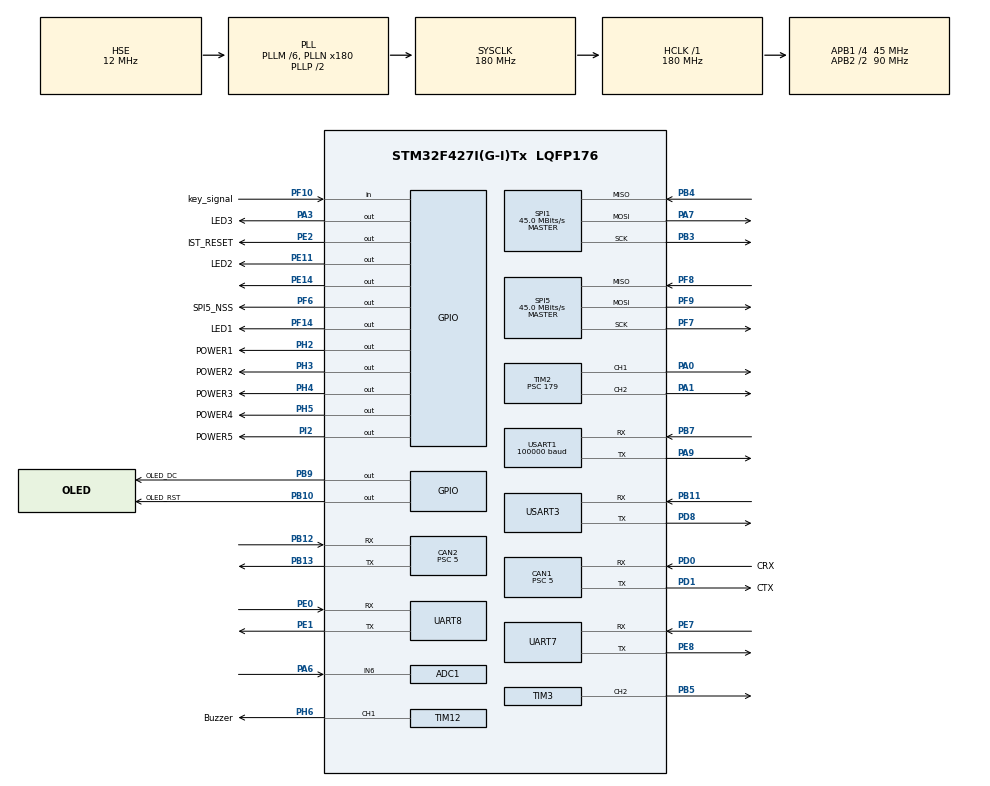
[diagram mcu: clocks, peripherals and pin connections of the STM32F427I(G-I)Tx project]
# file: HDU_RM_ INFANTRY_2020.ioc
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ADC1.Channel-0\#ChannelRegularConversion=ADC_CHANNEL_6
ADC1.ContinuousConvMode=ENABLE
ADC1.DMAContinuousRequests=ENABLE
ADC1.NbrOfConversionFlag=1
ADC1.Rank-0\#ChannelRegularConversion=1
ADC1.SamplingTime-0\#ChannelRegularConversion=ADC_SAMPLETIME_3CYCLES
ADC1.master=1
CAN1.ABOM=ENABLE
CAN1.BS1=CAN_BS1_5TQ
CAN1.BS2=CAN_BS2_3TQ
CAN1.CalculateTimeQuantum=111.11111111111111
CAN1.Prescaler=5
CAN2.ABOM=ENABLE
CAN2.BS1=CAN_BS1_5TQ
CAN2.BS2=CAN_BS2_3TQ
CAN2.CalculateTimeQuantum=111.11111111111111
CAN2.Prescaler=5
Dma.ADC1.0.Direction=DMA_PERIPH_TO_MEMORY
Dma.ADC1.0.FIFOMode=DMA_FIFOMODE_DISABLE
Dma.ADC1.0.Instance=DMA2_Stream0
Dma.ADC1.0.MemDataAlignment=DMA_MDATAALIGN_HALFWORD
Dma.ADC1.0.MemInc=DMA_MINC_ENABLE
Dma.ADC1.0.Mode=DMA_CIRCULAR
Dma.ADC1.0.PeriphDataAlignment=DMA_PDATAALIGN_HALFWORD
Dma.ADC1.0.PeriphInc=DMA_PINC_DISABLE
Dma.ADC1.0.Priority=DMA_PRIORITY_LOW
Dma.Request0=ADC1
Dma.Request1=UART8_RX
Dma.Request2=USART1_RX
Dma.Request3=UART7_RX
Dma.Request4=USART3_RX
Dma.UART7_RX.3.Direction=DMA_PERIPH_TO_MEMORY
Dma.UART7_RX.3.FIFOMode=DMA_FIFOMODE_DISABLE
Dma.UART7_RX.3.Instance=DMA1_Stream3
Dma.UART7_RX.3.MemDataAlignment=DMA_MDATAALIGN_BYTE
Dma.UART7_RX.3.MemInc=DMA_MINC_ENABLE
Dma.UART7_RX.3.Mode=DMA_CIRCULAR
Dma.UART7_RX.3.PeriphDataAlignment=DMA_PDATAALIGN_BYTE
Dma.UART7_RX.3.PeriphInc=DMA_PINC_DISABLE
Dma.UART7_RX.3.Priority=DMA_PRIORITY_LOW
Dma.UART8_RX.1.Direction=DMA_PERIPH_TO_MEMORY
Dma.UART8_RX.1.FIFOMode=DMA_FIFOMODE_DISABLE
Dma.UART8_RX.1.Instance=DMA1_Stream6
Dma.UART8_RX.1.MemDataAlignment=DMA_MDATAALIGN_BYTE
Dma.UART8_RX.1.MemInc=DMA_MINC_ENABLE
Dma.UART8_RX.1.Mode=DMA_CIRCULAR
Dma.UART8_RX.1.PeriphDataAlignment=DMA_PDATAALIGN_BYTE
Dma.UART8_RX.1.PeriphInc=DMA_PINC_DISABLE
Dma.UART8_RX.1.Priority=DMA_PRIORITY_HIGH
Dma.USART1_RX.2.Direction=DMA_PERIPH_TO_MEMORY
Dma.USART1_RX.2.FIFOMode=DMA_FIFOMODE_DISABLE
Dma.USART1_RX.2.Instance=DMA2_Stream2
Dma.USART1_RX.2.MemDataAlignment=DMA_MDATAALIGN_BYTE
Dma.USART1_RX.2.MemInc=DMA_MINC_ENABLE
Dma.USART1_RX.2.Mode=DMA_CIRCULAR
Dma.USART1_RX.2.PeriphDataAlignment=DMA_PDATAALIGN_BYTE
Dma.USART1_RX.2.PeriphInc=DMA_PINC_DISABLE
Dma.USART1_RX.2.Priority=DMA_PRIORITY_VERY_HIGH
Dma.USART3_RX.4.Direction=DMA_PERIPH_TO_MEMORY
Dma.USART3_RX.4.FIFOMode=DMA_FIFOMODE_DISABLE
Dma.USART3_RX.4.Instance=DMA1_Stream1
Dma.USART3_RX.4.MemDataAlignment=DMA_MDATAALIGN_BYTE
Dma.USART3_RX.4.MemInc=DMA_MINC_ENABLE
Dma.USART3_RX.4.Mode=DMA_NORMAL
Dma.USART3_RX.4.PeriphDataAlignment=DMA_PDATAALIGN_BYTE
Dma.USART3_RX.4.PeriphInc=DMA_PINC_DISABLE
Dma.USART3_RX.4.Priority=DMA_PRIORITY_LOW
FREERTOS.INCLUDE_vTaskDelayUntil=1
FREERTOS.Tasks01=ShowRunningTask,3,128,ShowRunningFun,As weak,NULL,Dynamic,NULL,NULL;ShowOLEDTask,-3,128,ShowOLEDFun,As weak,NULL,Dynamic,NULL,NULL;GimbalTask,2,128,GimbalFun,As weak,NULL,Dynamic,NULL,NULL;ChassisTask,2,128,ChassisFun,As weak,NULL,Dynamic,NULL,NULL;ShootTask,2,128,ShootFun,As weak,NULL,Dynamic,NULL,NULL;OutControl_Task,1,128,OutControl_Fun,As weak,NULL,Dynamic,NULL,NULL;IMUTask,3,128,IMUFun,As weak,NULL,Dynamic,NULL,NULL;hero_shoot,2,128,hero_shoot_fun,As weak,NULL,Dynamic,NULL,NULL
FREERTOS.Timers01=Get6020SpeedTimer,Get6020SpeedCallback,osTimerPeriodic,As weak,NULL,Dynamic,NULL;Task_500msTimer,Task_500ms,osTimerPeriodic,As weak,NULL,Dynamic,NULL
FREERTOS.configUSE_TIMERS=1
Mcu.Family=STM32F4
Mcu.Name=STM32F427I(G-I)Tx
Mcu.Package=LQFP176
NVIC.CAN1_RX0_IRQn=true\:5\:0\:false\:false\:true\:true\:true\:true
NVIC.CAN1_TX_IRQn=true\:5\:0\:false\:false\:true\:true\:true\:true
NVIC.CAN2_RX0_IRQn=true\:5\:0\:false\:false\:true\:true\:true\:true
NVIC.CAN2_TX_IRQn=true\:5\:0\:false\:false\:true\:true\:true\:true
NVIC.DMA1_Stream1_IRQn=true\:5\:0\:false\:false\:true\:true\:false\:true
NVIC.DMA1_Stream3_IRQn=true\:5\:0\:false\:false\:true\:true\:false\:true
NVIC.DMA1_Stream6_IRQn=true\:5\:0\:false\:false\:true\:true\:false\:true
NVIC.DMA2_Stream0_IRQn=true\:5\:0\:false\:false\:true\:true\:false\:true
NVIC.DMA2_Stream2_IRQn=true\:5\:0\:false\:false\:true\:true\:false\:true
NVIC.PriorityGroup=NVIC_PRIORITYGROUP_4
NVIC.TIM1_UP_TIM10_IRQn=true\:0\:0\:false\:false\:true\:false\:false\:true
NVIC.TIM6_DAC_IRQn=true\:5\:0\:false\:false\:true\:true\:true\:true
NVIC.TIM8_UP_TIM13_IRQn=true\:5\:0\:false\:false\:true\:true\:true\:true
NVIC.TimeBase=TIM1_UP_TIM10_IRQn
NVIC.TimeBaseIP=TIM1
NVIC.UART7_IRQn=true\:5\:0\:false\:false\:true\:true\:true\:true
NVIC.UART8_IRQn=true\:5\:0\:false\:false\:true\:true\:true\:true
NVIC.USART1_IRQn=true\:5\:0\:false\:false\:true\:true\:true\:true
NVIC.USART3_IRQn=true\:5\:0\:false\:false\:true\:true\:true\:true
PA0/WKUP.Signal=S_TIM2_CH1_ETR
PA1.Signal=S_TIM2_CH2
PA13.Mode=Serial_Wire
PA13.Signal=SYS_JTMS-SWDIO
PA14.Mode=Serial_Wire
PA14.Signal=SYS_JTCK-SWCLK
PA3.GPIO_Label=LED3
PA3.GPIO_Speed=GPIO_SPEED_FREQ_HIGH
PA3.PinState=GPIO_PIN_SET
PA3.Signal=GPIO_Output
PA6.Signal=ADCx_IN6
PA7.Mode=Full_Duplex_Master
PA7.Signal=SPI1_MOSI
PA9.Mode=Asynchronous
PA9.Signal=USART1_TX
PB10.GPIO_Label=OLED_RST
PB10.Signal=GPIO_Output
PB11.Mode=Asynchronous
PB11.Signal=USART3_RX
PB12.Mode=Slave
PB12.Signal=CAN2_RX
PB13.Mode=Slave
PB13.Signal=CAN2_TX
PB3.Mode=Full_Duplex_Master
PB3.Signal=SPI1_SCK
PB4.Mode=Full_Duplex_Master
PB4.Signal=SPI1_MISO
PB5.Signal=S_TIM3_CH2
PB7.Mode=Asynchronous
PB7.Signal=USART1_RX
PB9.GPIO_Label=OLED_DC
PB9.Signal=GPIO_Output
PD0.GPIO_Label=CRX
PD0.Mode=Master
PD0.Signal=CAN1_RX
PD1.GPIO_Label=CTX
PD1.Mode=Master
PD1.Signal=CAN1_TX
PD8.Mode=Asynchronous
PD8.Signal=USART3_TX
PE0.Mode=Asynchronous
PE0.Signal=UART8_RX
PE1.Mode=Asynchronous
PE1.Signal=UART8_TX
PE11.GPIO_Label=LED2
PE11.GPIO_Speed=GPIO_SPEED_FREQ_VERY_HIGH
PE11.PinState=GPIO_PIN_SET
PE11.Signal=GPIO_Output
PE14.PinState=GPIO_PIN_SET
PE14.Signal=GPIO_Output
PE2.GPIO_Label=IST_RESET
PE2.PinState=GPIO_PIN_SET
PE2.Signal=GPIO_Output
PE7.Mode=Asynchronous
PE7.Signal=UART7_RX
PE8.Mode=Asynchronous
PE8.Signal=UART7_TX
PF10.GPIO_Label=key_signal
PF10.GPIO_PuPd=GPIO_PULLUP
PF10.Signal=GPIO_Input
PF14.GPIO_Label=LED1
PF14.GPIO_Speed=GPIO_SPEED_FREQ_VERY_HIGH
PF14.PinState=GPIO_PIN_SET
PF14.Signal=GPIO_Output
PF6.GPIO_Label=SPI5_NSS
PF6.Signal=GPIO_Output
PF7.Mode=Full_Duplex_Master
PF7.Signal=SPI5_SCK
PF8.Mode=Full_Duplex_Master
PF8.Signal=SPI5_MISO
PF9.Mode=Full_Duplex_Master
PF9.Signal=SPI5_MOSI
PH0/OSC_IN.Mode=HSE-External-Oscillator
PH0/OSC_IN.Signal=RCC_OSC_IN
PH1/OSC_OUT.Mode=HSE-External-Oscillator
PH1/OSC_OUT.Signal=RCC_OSC_OUT
PH2.GPIO_Label=POWER1
PH2.GPIO_PuPd=GPIO_PULLDOWN
PH2.GPIO_Speed=GPIO_SPEED_FREQ_HIGH
PH2.Signal=GPIO_Output
PH3.GPIO_Label=POWER2
PH3.GPIO_PuPd=GPIO_PULLDOWN
PH3.GPIO_Speed=GPIO_SPEED_FREQ_HIGH
PH3.Signal=GPIO_Output
PH4.GPIO_Label=POWER3
PH4.GPIO_PuPd=GPIO_PULLDOWN
PH4.GPIO_Speed=GPIO_SPEED_FREQ_HIGH
PH4.Signal=GPIO_Output
PH5.GPIO_Label=POWER4
PH5.GPIO_PuPd=GPIO_PULLDOWN
PH5.GPIO_Speed=GPIO_SPEED_FREQ_HIGH
PH5.Signal=GPIO_Output
PH6.GPIO_Label=Buzzer
PH6.Signal=S_TIM12_CH1
PI2.GPIO_Label=POWER5
PI2.GPIO_PuPd=GPIO_PULLDOWN
PI2.GPIO_Speed=GPIO_SPEED_FREQ_HIGH
PI2.Signal=GPIO_Output
ProjectManager.HeapSize=0x200
ProjectManager.StackSize=0x400
ProjectManager.TargetToolchain=MDK-ARM V5.27
RCC.48MHZClocksFreq_Value=90000000
RCC.AHBFreq_Value=180000000
RCC.APB1CLKDivider=RCC_HCLK_DIV4
RCC.APB1Freq_Value=45000000
RCC.APB1TimFreq_Value=90000000
RCC.APB2CLKDivider=RCC_HCLK_DIV2
RCC.APB2Freq_Value=90000000
RCC.APB2TimFreq_Value=180000000
RCC.CortexFreq_Value=180000000
RCC.HCLKFreq_Value=180000000
RCC.HSE_VALUE=12000000
RCC.HSI_VALUE=16000000
RCC.LSE_VALUE=32768
RCC.PLLM=6
RCC.PLLN=180
RCC.PLLSourceVirtual=RCC_PLLSOURCE_HSE
RCC.SYSCLKFreq_VALUE=180000000
RCC.SYSCLKSource=RCC_SYSCLKSOURCE_PLLCLK
RCC.VCOOutputFreq_Value=360000000
SH.ADCx_IN6.0=ADC1_IN6,IN6
SH.S_TIM12_CH1.0=TIM12_CH1,PWM Generation1 CH1
SH.S_TIM2_CH1_ETR.0=TIM2_CH1,PWM Generation1 CH1
SH.S_TIM2_CH2.0=TIM2_CH2,PWM Generation2 CH2
SH.S_TIM3_CH2.0=TIM3_CH2,PWM Generation2 CH2
SPI1.CalculateBaudRate=45.0 MBits/s
SPI1.Direction=SPI_DIRECTION_2LINES
SPI1.Mode=SPI_MODE_MASTER
SPI1.VirtualType=VM_MASTER
SPI5.CalculateBaudRate=45.0 MBits/s
SPI5.Direction=SPI_DIRECTION_2LINES
SPI5.Mode=SPI_MODE_MASTER
SPI5.VirtualType=VM_MASTER
TIM12.Channel-PWM\ Generation1\ CH1=TIM_CHANNEL_1
TIM12.Period=9999
TIM12.Prescaler=6
TIM13.AutoReloadPreload=TIM_AUTORELOAD_PRELOAD_ENABLE
TIM13.Period=999
TIM13.Prescaler=899
TIM2.Channel-PWM\ Generation1\ CH1=TIM_CHANNEL_1
TIM2.Channel-PWM\ Generation2\ CH2=TIM_CHANNEL_2
TIM2.Period=9999
TIM2.Prescaler=179
TIM3.Channel-PWM\ Generation2\ CH2=TIM_CHANNEL_2
TIM3.Period=2000
TIM3.Prescaler=83
TIM6.AutoReloadPreload=TIM_AUTORELOAD_PRELOAD_ENABLE
TIM6.Period=1000-1
TIM6.Prescaler=9000-1
UART7.Parity=PARITY_NONE
UART7.VirtualMode=Asynchronous
UART8.VirtualMode=Asynchronous
USART1.BaudRate=100000
USART1.Parity=PARITY_EVEN
USART1.VirtualMode=VM_ASYNC
USART3.VirtualMode=VM_ASYNC
VP_FREERTOS_VS_CMSIS_V1.Mode=CMSIS_V1
VP_SYS_VS_tim1.Mode=TIM1
VP_TIM13_VS_ClockSourceINT.Mode=Enable_Timer
VP_TIM6_VS_ClockSourceINT.Mode=Enable_Timer
board=custom

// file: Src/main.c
/* USER CODE BEGIN Header */
/**
  ******************************************************************************
  * @file           : main.c
  * @brief          : Main program body
  ******************************************************************************
  * @attention
  *
  * <h2><center>&copy; Copyright (c) 2019 STMicroelectronics.
  * All rights reserved.</center></h2>
  *
  * This software component is licensed by ST under Ultimate Liberty license
  * SLA0044, the "License"; You may not use this file except in compliance with
  * the License. You may obtain a copy of the License at:
  *                             www.st.com/SLA0044
  *
  ******************************************************************************
  */
/* USER CODE END Header */

#include "main.h"
#include "cmsis_os.h"
#include "adc.h"
#include "can.h"
#include "dma.h"
#include "spi.h"
#include "tim.h"
#include "usart.h"
#include "gpio.h"

/* USER CODE BEGIN PTD */
__IO uint16_t uhADCxConvertedValue[30] ;
uint16_t ADCxConvertedValue;
/* USER CODE END PTD */

void SystemClock_Config(void);
void MX_FREERTOS_Init(void);

/* USER CODE BEGIN 0 */
void HAL_ADC_ConvCpltCallback(ADC_HandleTypeDef* hadc)
{
	uint16_t loop;
	uint16_t all=0;
	for(loop=0;loop<10;loop++)	//滤波，只???????要滤波中???????10???????
	{
		all+=uhADCxConvertedValue[loop];
	}
	ADCxConvertedValue=all/10;

}
/* USER CODE END 0 */

int main(void)
{

  /* MCU Configuration--------------------------------------------------------*/

  /* Reset of all peripherals, Initializes the Flash interface and the Systick. */
  HAL_Init();

  /* Configure the system clock */
  SystemClock_Config();

  /* Initialize all configured peripherals */
  MX_GPIO_Init();
  MX_DMA_Init();
  MX_ADC1_Init();
  MX_CAN1_Init();
  MX_CAN2_Init();
  MX_SPI1_Init();
  MX_TIM3_Init();
  MX_UART8_Init();
  MX_USART1_UART_Init();
  MX_SPI5_Init();
  MX_TIM12_Init();
  MX_TIM2_Init();
  MX_TIM6_Init();
  MX_UART7_Init();
  MX_USART3_UART_Init();
  MX_TIM13_Init();

  /* USER CODE BEGIN 2 */
  SYSTEM_InitPeripheral();   //外设初始化
	Parameter_Init();          //参数初始化

  /* USER CODE END 2 */

  /* Call init function for freertos objects (in freertos.c) */
  MX_FREERTOS_Init();

  /* Start scheduler */
  osKernelStart();

  /* We should never get here as control is now taken by the scheduler */

  /* Infinite loop */
  /* USER CODE BEGIN WHILE */

	while (1)
  {

		if(rc.sw2 == 1)
			shoot_single();
    /* USER CODE END WHILE */

  }
}

void SystemClock_Config(void)
{
  RCC_OscInitTypeDef RCC_OscInitStruct = {0};
  RCC_ClkInitTypeDef RCC_ClkInitStruct = {0};

  /** Configure the main internal regulator output voltage
  */
  __HAL_RCC_PWR_CLK_ENABLE();
  __HAL_PWR_VOLTAGESCALING_CONFIG(PWR_REGULATOR_VOLTAGE_SCALE1);
  /** Initializes the CPU, AHB and APB busses clocks
  */
  RCC_OscInitStruct.OscillatorType = RCC_OSCILLATORTYPE_HSE;
  RCC_OscInitStruct.HSEState = RCC_HSE_ON;
  RCC_OscInitStruct.PLL.PLLState = RCC_PLL_ON;
  RCC_OscInitStruct.PLL.PLLSource = RCC_PLLSOURCE_HSE;
  RCC_OscInitStruct.PLL.PLLM = 6;
  RCC_OscInitStruct.PLL.PLLN = 180;
  RCC_OscInitStruct.PLL.PLLP = RCC_PLLP_DIV2;
  RCC_OscInitStruct.PLL.PLLQ = 4;
  if (HAL_RCC_OscConfig(&RCC_OscInitStruct) != HAL_OK)
  {
    Error_Handler();
  }
  /** Activate the Over-Drive mode
  */
  if (HAL_PWREx_EnableOverDrive() != HAL_OK)
  {
    Error_Handler();
  }
  /** Initializes the CPU, AHB and APB busses clocks
  */
  RCC_ClkInitStruct.ClockType = RCC_CLOCKTYPE_HCLK|RCC_CLOCKTYPE_SYSCLK
                              |RCC_CLOCKTYPE_PCLK1|RCC_CLOCKTYPE_PCLK2;
  RCC_ClkInitStruct.SYSCLKSource = RCC_SYSCLKSOURCE_PLLCLK;
  RCC_ClkInitStruct.AHBCLKDivider = RCC_SYSCLK_DIV1;
  RCC_ClkInitStruct.APB1CLKDivider = RCC_HCLK_DIV4;
  RCC_ClkInitStruct.APB2CLKDivider = RCC_HCLK_DIV2;

  if (HAL_RCC_ClockConfig(&RCC_ClkInitStruct, FLASH_LATENCY_5) != HAL_OK)
  {
    Error_Handler();
  }
}

/* USER CODE BEGIN 4 */
////////////////判断////////////////////
void Task_500ms(void const * argument)
{
	for(;;)
	{
		vTaskDelay(TIME_STAMP_200MS);				//500ms
		Send_to_Teammate();
	}
}

/* USER CODE END 4 */

void HAL_TIM_PeriodElapsedCallback(TIM_HandleTypeDef *htim)
{
  /* USER CODE BEGIN Callback 0 */
////功率设定步进为0.01W，发送值从4500——10000对应45W到80W////////
	if (htim->Instance == TIM6)
	{
		set_supercap_current(&hcan1,8000);
	}
//////////设置了10ms的TIM13的中断用于摩擦轮处理以及超级电容充放电///////////////////////
	if (htim->Instance == TIM13)
	{
		FRICTION_Ctrl();//摩擦轮控制

		Super_Charging_Control();
		SuperCap_Giveout_Control();
  }
  /* USER CODE END Callback 0 */
  if (htim->Instance == TIM1) {
    HAL_IncTick();
  }
}

void Error_Handler(void)
{
}

/************************ (C) COPYRIGHT STMicroelectronics *****END OF FILE****/

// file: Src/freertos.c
/* USER CODE BEGIN Header */
/**
  ******************************************************************************
  * File Name          : freertos.c
  * Description        : Code for freertos applications
  ******************************************************************************
  * @attention
  *
  * <h2><center>&copy; Copyright (c) 2019 STMicroelectronics.
  * All rights reserved.</center></h2>
  *
  * This software component is licensed by ST under Ultimate Liberty license
  * SLA0044, the "License"; You may not use this file except in compliance with
  * the License. You may obtain a copy of the License at:
  *                             www.st.com/SLA0044
  *
  ******************************************************************************
  */
/* USER CODE END Header */

#include "FreeRTOS.h"
#include "task.h"
#include "main.h"
#include "cmsis_os.h"

osThreadId ShowRunningTaskHandle;
osThreadId ShowOLEDTaskHandle;
osThreadId GimbalTaskHandle;
osThreadId ChassisTaskHandle;
osThreadId ShootTaskHandle;
osThreadId OutControl_TaskHandle;
osThreadId IMUTaskHandle;
osThreadId hero_shootHandle;
osTimerId Get6020SpeedTimerHandle;
osTimerId Task_500msTimerHandle;

void ShowRunningFun(void const * argument);
void ShowOLEDFun(void const * argument);
void GimbalFun(void const * argument);
void ChassisFun(void const * argument);
void ShootFun(void const * argument);
void OutControl_Fun(void const * argument);
void IMUFun(void const * argument);
void hero_shoot_fun(void const * argument);
void Get6020SpeedCallback(void const * argument);
void Task_500ms(void const * argument);

void MX_FREERTOS_Init(void); /* (MISRA C 2004 rule 8.1) */

/* GetIdleTaskMemory prototype (linked to static allocation support) */
void vApplicationGetIdleTaskMemory( StaticTask_t **ppxIdleTaskTCBBuffer, StackType_t **ppxIdleTaskStackBuffer, uint32_t *pulIdleTaskStackSize );

/* GetTimerTaskMemory prototype (linked to static allocation support) */
void vApplicationGetTimerTaskMemory( StaticTask_t **ppxTimerTaskTCBBuffer, StackType_t **ppxTimerTaskStackBuffer, uint32_t *pulTimerTaskStackSize );

/* USER CODE BEGIN GET_IDLE_TASK_MEMORY */
static StaticTask_t xIdleTaskTCBBuffer;
static StackType_t xIdleStack[configMINIMAL_STACK_SIZE];

void vApplicationGetIdleTaskMemory( StaticTask_t **ppxIdleTaskTCBBuffer, StackType_t **ppxIdleTaskStackBuffer, uint32_t *pulIdleTaskStackSize )
{
  *ppxIdleTaskTCBBuffer = &xIdleTaskTCBBuffer;
  *ppxIdleTaskStackBuffer = &xIdleStack[0];
  *pulIdleTaskStackSize = configMINIMAL_STACK_SIZE;
  /* place for user code */
}
/* USER CODE END GET_IDLE_TASK_MEMORY */

/* USER CODE BEGIN GET_TIMER_TASK_MEMORY */
static StaticTask_t xTimerTaskTCBBuffer;
static StackType_t xTimerStack[configTIMER_TASK_STACK_DEPTH];

void vApplicationGetTimerTaskMemory( StaticTask_t **ppxTimerTaskTCBBuffer, StackType_t **ppxTimerTaskStackBuffer, uint32_t *pulTimerTaskStackSize )
{
  *ppxTimerTaskTCBBuffer = &xTimerTaskTCBBuffer;
  *ppxTimerTaskStackBuffer = &xTimerStack[0];
  *pulTimerTaskStackSize = configTIMER_TASK_STACK_DEPTH;
  /* place for user code */
}
/* USER CODE END GET_TIMER_TASK_MEMORY */

void MX_FREERTOS_Init(void) {

  /* Create the timer(s) */
  /* definition and creation of Get6020SpeedTimer */
  osTimerDef(Get6020SpeedTimer, Get6020SpeedCallback);
  Get6020SpeedTimerHandle = osTimerCreate(osTimer(Get6020SpeedTimer), osTimerPeriodic, NULL);

  /* definition and creation of Task_500msTimer */
  osTimerDef(Task_500msTimer, Task_500ms);
  Task_500msTimerHandle = osTimerCreate(osTimer(Task_500msTimer), osTimerPeriodic, NULL);

  /* USER CODE BEGIN RTOS_TIMERS */
  /* start timers, add new ones, ... */
	osTimerStart(Get6020SpeedTimerHandle,10);//10毫秒钟启动一次定时
	osTimerStart(Task_500msTimerHandle,500);//500毫秒钟启动一次定时
  /* USER CODE END RTOS_TIMERS */

  /* USER CODE BEGIN RTOS_QUEUES */
  /* add queues, ... */
/////////////////////////创建开始任务任务函数///////////////////////////
  /* USER CODE END RTOS_QUEUES */

  /* Create the thread(s) */
  /* definition and creation of ShowRunningTask */
  osThreadDef(ShowRunningTask, ShowRunningFun, osPriorityRealtime, 0, 128);
  ShowRunningTaskHandle = osThreadCreate(osThread(ShowRunningTask), NULL);

  /* definition and creation of ShowOLEDTask */
  osThreadDef(ShowOLEDTask, ShowOLEDFun, osPriorityIdle, 0, 128);
  ShowOLEDTaskHandle = osThreadCreate(osThread(ShowOLEDTask), NULL);

  /* definition and creation of GimbalTask */
  osThreadDef(GimbalTask, GimbalFun, osPriorityHigh, 0, 128);
  GimbalTaskHandle = osThreadCreate(osThread(GimbalTask), NULL);

  /* definition and creation of ChassisTask */
  osThreadDef(ChassisTask, ChassisFun, osPriorityHigh, 0, 128);
  ChassisTaskHandle = osThreadCreate(osThread(ChassisTask), NULL);

  /* definition and creation of ShootTask */
  osThreadDef(ShootTask, ShootFun, osPriorityHigh, 0, 128);
  ShootTaskHandle = osThreadCreate(osThread(ShootTask), NULL);

  /* definition and creation of OutControl_Task */
  osThreadDef(OutControl_Task, OutControl_Fun, osPriorityAboveNormal, 0, 128);
  OutControl_TaskHandle = osThreadCreate(osThread(OutControl_Task), NULL);

  /* definition and creation of IMUTask */
  osThreadDef(IMUTask, IMUFun, osPriorityRealtime, 0, 128);
  IMUTaskHandle = osThreadCreate(osThread(IMUTask), NULL);

  /* definition and creation of hero_shoot */
  osThreadDef(hero_shoot, hero_shoot_fun, osPriorityHigh, 0, 128);
  hero_shootHandle = osThreadCreate(osThread(hero_shoot), NULL);

}

__weak void ShowRunningFun(void const * argument)
{
  for(;;)
  {
    osDelay(1);
  }
}

__weak void ShowOLEDFun(void const * argument)
{
  for(;;)
  {
    osDelay(1);
  }
}

__weak void GimbalFun(void const * argument)
{
  for(;;)
  {
    osDelay(1);
  }
}

__weak void ChassisFun(void const * argument)
{
  for(;;)
  {
    osDelay(1);
  }
}

__weak void ShootFun(void const * argument)
{
  for(;;)
  {
    osDelay(1);
  }
}

__weak void OutControl_Fun(void const * argument)
{
  for(;;)
  {
    osDelay(1);
  }
}

__weak void IMUFun(void const * argument)
{
  for(;;)
  {
    osDelay(1);
  }
}

__weak void hero_shoot_fun(void const * argument)
{
  for(;;)
  {
    osDelay(1);
  }
}

/* Get6020SpeedCallback function */
__weak void Get6020SpeedCallback(void const * argument)
{
}

/* Task_500ms function */
__weak void Task_500ms(void const * argument)
{
}

/************************ (C) COPYRIGHT STMicroelectronics *****END OF FILE****/
